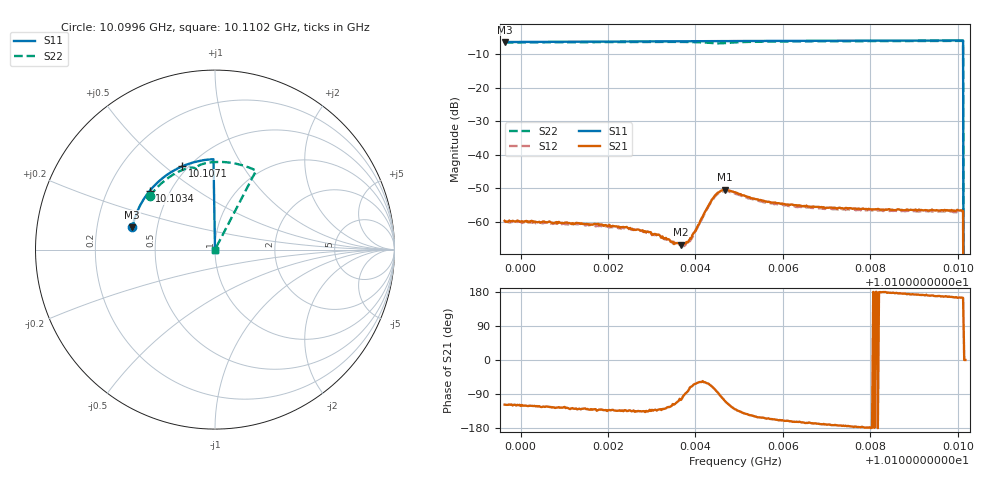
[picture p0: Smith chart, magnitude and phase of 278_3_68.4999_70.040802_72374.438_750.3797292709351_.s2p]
#  HZ  S  RI  R  50.00
! Rohde & Schwarz Vector Network Analyzer
! Rohde-Schwarz,ZNB20-2Port,1311601062101988,3.16
! Created: UTC 3/20/2024, 5:01:03 PM
! freq[Hz]  re:S11  im:S11  re:S21  im:S21  re:S12  im:S12  re:S22  im:S22
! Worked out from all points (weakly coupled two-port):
!   401 points, 10.0996 GHz to 10.1102 GHz, reference 50 ohm
!   highest |S21| = -50.48 dB at 10.1047 GHz (marker M1); lowest = -66.9 dB at 10.1037 GHz (marker M2)
!   lowest |S11| = -6.4 dB at 10.0996 GHz (marker M3), VSWR 2.83, Z = 18 + j5.77 ohm
!   |S11| at or under -10 dB: 10.11012 GHz to end of sweep
!   |S22| runs from - to -6.1 dB; largest |S21 - S12| = 0.00029
!   S11 on the Smith chart (normalised r, x): 10.0996 GHz: 0.36, +0.12; 10.1034 GHz: 0.39, +0.33; 10.1071 GHz: 0.47, +0.57; 10.1102 GHz: 1.00, +0.00
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1.009964e10  -0.4608 0.1239  -0.000479 -0.00091  -0.000389 -0.000932  -0.3642 0.2968
1.01014e10  -0.427 0.226  -0.000593 -0.000734  -0.000503 -0.000735  -0.2861 0.3796
1.01024e10  -0.3979 0.2796  -0.000558 -0.000609  -0.000523 -0.000583  -0.2331 0.4176
1.01028e10  -0.3847 0.2995  -0.000525 -0.000522  -0.000454 -0.000542  -0.2103 0.4304
1.010316e10  -0.3715 0.3175  -0.000415 -0.000485  -0.000375 -0.000469  -0.1878 0.4414
1.010338e10  -0.3634 0.3276  -0.000308 -0.000455  -0.000264 -0.000451  -0.1745 0.4469
1.010348e10  -0.3593 0.3324  -0.000222 -0.00045  -0.000192 -0.000435  -0.1674 0.4492
1.010367e10  -0.3518 0.3409  -0.000122 -0.000436  -4.3e-05 -0.000445  -0.1549 0.4532
1.010377e10  -0.3478 0.3457  1.51e-05 -0.000475  6.16e-05 -0.000444  -0.1474 0.4549
1.010388e10  -0.3433 0.3504  0.000177 -0.000539  0.000172 -0.000482  -0.1398 0.4564
1.010403e10  -0.3369 0.3573  0.000399 -0.000711  0.000464 -0.000637  -0.1276 0.4572
1.010424e10  -0.3276 0.3662  0.000744 -0.00131  0.000829 -0.00116  -0.1121 0.4536
1.01044e10  -0.3209 0.3729  0.000663 -0.00214  0.000813 -0.002  -0.1053 0.4471
1.010453e10  -0.315 0.3782  3.52e-05 -0.00274  0.000257 -0.00266  -0.1059 0.4436
1.010467e10  -0.3091 0.3836  -0.000891 -0.00286  -0.000616 -0.00277  -0.1079 0.4468
1.01049e10  -0.2983 0.393  -0.00176 -0.0021  -0.00149 -0.00217  -0.1015 0.4601
1.010561e10  -0.264 0.419  -0.00181 -0.000858  -0.00165 -0.001  -0.0548 0.4809
1.010667e10  -0.2093 0.4517  -0.00162 -0.000383  -0.00152 -0.000512  0.0152 0.4886
1.010714e10  -0.183 0.4638  -0.00159 -0.000228  -0.00148 -0.000373  0.046 0.4879
1.010843e10  -0.1094 0.4891  -0.00153 6.61e-05  -0.00144 -0.000113  0.1279 0.4761
1.011007e10  -0.0118 0.5034  -0.00142 0.000393  -0.00138 0.000217  0.2259 0.4416
1.011017e10  0 0  0 0  0 0  0 0
